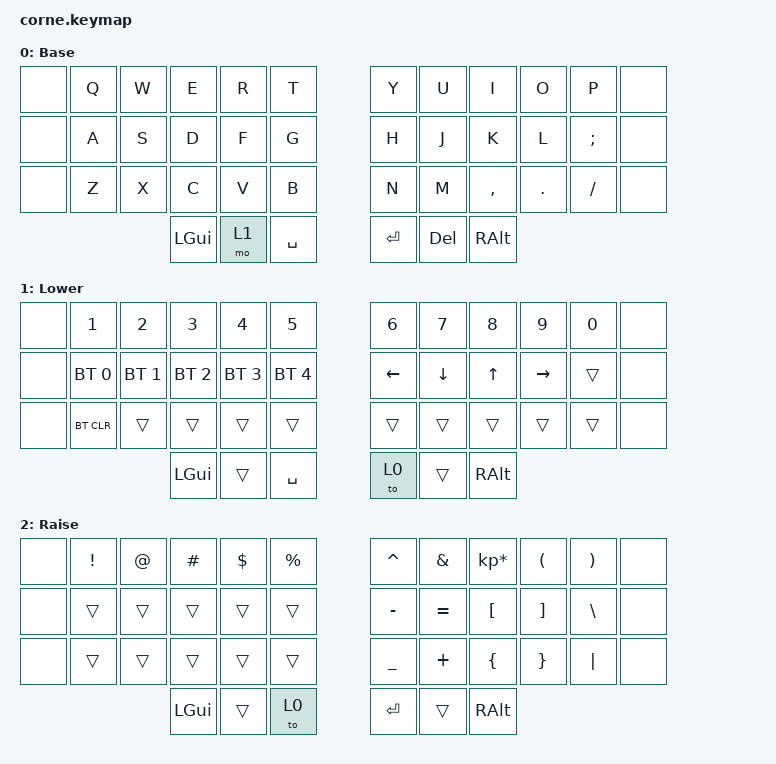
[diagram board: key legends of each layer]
/*
 * Copyright (c) 2020 The ZMK Contributors
 *
 * SPDX-License-Identifier: MIT
 */

#include <behaviors.dtsi>
#include <dt-bindings/zmk/bt.h>
#include <dt-bindings/zmk/keys.h>

/ {
    keymap {
        compatible = "zmk,keymap";

        default_layer {
            // -----------------------------------------------------------------------------------------
            // |  TAB |  Q  |  W  |  E  |  R  |  T  |   |  Y  |  U   |  I  |  O  |  P  | BKSP |
            // | CTRL |  A  |  S  |  D  |  F  |  G  |   |  H  |  J   |  K  |  L  |  ;  |  '   |
            // | SHFT |  Z  |  X  |  C  |  V  |  B  |   |  N  |  M   |  ,  |  .  |  /  | ESC  |
            //                    | GUI | LWR | SPC |   | ENT | RSE  | ALT |

            display-name = "Base";
            bindings = <
&none  &kp Q  &kp W  &kp E     &kp R  &kp T        &kp Y    &kp U       &kp I      &kp O    &kp P     &none
&none  &kp A  &kp S  &kp D     &kp F  &kp G        &kp H    &kp J       &kp K      &kp L    &kp SEMI  &none
&none  &kp Z  &kp X  &kp C     &kp V  &kp B        &kp N    &kp M       &kp COMMA  &kp DOT  &kp FSLH  &none
                     &kp LGUI  &mo 1  &kp SPACE    &kp RET  &kp DELETE  &kp RALT
            >;
        };

        lower_layer {
            // -----------------------------------------------------------------------------------------
            // |  TAB |  1  |  2  |  3  |  4  |  5  |   |  6  |  7  |  8  |  9  |  0  | BKSP |
            // | BTCLR| BT1 | BT2 | BT3 | BT4 | BT5 |   | LFT | DWN |  UP | RGT |     |      |
            // | SHFT |     |     |     |     |     |   |     |     |     |     |     |      |
            //                    | GUI |     | SPC |   | ENT |     | ALT |

            display-name = "Lower";
            bindings = <
&none  &kp N1        &kp N2        &kp N3        &kp N4        &kp N5          &kp N6    &kp N7    &kp N8    &kp N9     &kp N0  &none
&none  &bt BT_SEL 0  &bt BT_SEL 1  &bt BT_SEL 2  &bt BT_SEL 3  &bt BT_SEL 4    &kp LEFT  &kp DOWN  &kp UP    &kp RIGHT  &trans  &none
&none  &bt BT_CLR    &trans        &trans        &trans        &trans          &trans    &trans    &trans    &trans     &trans  &none
                                   &kp LGUI      &trans        &kp SPACE       &to 0     &trans    &kp RALT
            >;
        };

        raise_layer {
            // -----------------------------------------------------------------------------------------
            // |  TAB |  !  |  @  |  #  |  $  |  %  |   |  ^  |  &  |  *  |  (  |  )  | BKSP |
            // | CTRL |     |     |     |     |     |   |  -  |  =  |  [  |  ]  |  \  |  `   |
            // | SHFT |     |     |     |     |     |   |  _  |  +  |  {  |  }  | "|" |  ~   |
            //                    | GUI |     | SPC |   | ENT |     | ALT |

            display-name = "Raise";
            bindings = <
&none  &kp EXCL  &kp AT  &kp HASH  &kp DLLR  &kp PRCNT    &kp CARET  &kp AMPS   &kp KP_MULTIPLY  &kp LPAR  &kp RPAR  &none
&none  &trans    &trans  &trans    &trans    &trans       &kp MINUS  &kp EQUAL  &kp LBKT         &kp RBKT  &kp BSLH  &none
&none  &trans    &trans  &trans    &trans    &trans       &kp UNDER  &kp PLUS   &kp LBRC         &kp RBRC  &kp PIPE  &none
                         &kp LGUI  &trans    &to 0        &kp RET    &trans     &kp RALT
            >;
        };
    };
};
